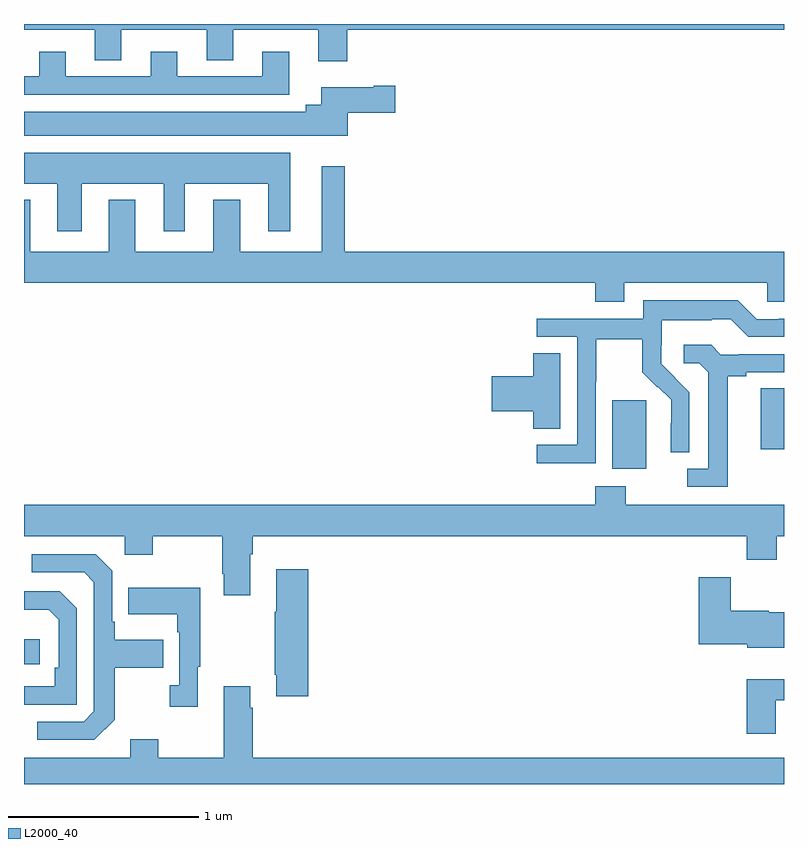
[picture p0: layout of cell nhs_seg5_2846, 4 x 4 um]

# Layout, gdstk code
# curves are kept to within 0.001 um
import gdstk
lib = gdstk.Library(unit=1e-6, precision=1e-09)
def R(c, l, rs):  # rectangles x0, y0, x1, y1
    for r in rs: c.add(gdstk.rectangle(r[:2], r[2:], *l))
def P(c, l, *ps):  # polygons
    for p in ps: c.add(gdstk.Polygon(p, *l))
L2000_40 = (2000, 40)

nhs_seg5_2846 = lib.new_cell('nhs_seg5_2846')
R(nhs_seg5_2846, L2000_40, [(277,845.43,277.084,845.56), (280.097,846.458,280.276,846.819), (280.877,846.561,281,846.881)])
P(nhs_seg5_2846, L2000_40, [(278.702,848.768),(281,848.768),(281,848.799),(277,848.799),(277,848.768),(277.373,848.768),(277.373,848.608),(277.513,848.608),(277.513,848.768),(277.961,848.768),(277.961,848.608),(278.101,848.608),(278.101,848.768),(278.549,848.768),(278.549,848.604),(278.702,848.604)],
  [(278.395,848.653),(278.255,848.653),(278.255,848.523),(277.807,848.523),(277.807,848.653),(277.667,848.653),(277.667,848.523),(277.219,848.523),(277.219,848.653),(277.079,848.653),(277.079,848.523),(277,848.523),(277,848.427),(278.395,848.427)],
  [(278.704,848.333),(278.953,848.333),(278.953,848.475),(278.84,848.475),(278.84,848.467),(278.564,848.467),(278.564,848.374),(278.483,848.374),(278.483,848.338),(277,848.338),(277,848.21),(278.704,848.21)],
  [(277.303,847.958),(277.736,847.958),(277.736,847.707),(277.846,847.707),(277.846,847.958),(278.285,847.958),(278.285,847.707),(278.401,847.707),(278.401,848.122),(277,848.122),(277,847.958),(277.175,847.958),(277.175,847.707),(277.303,847.707)],
  [(280.159,847.436),(280.911,847.436),(280.911,847.338),(281,847.338),(281,847.6),(278.689,847.6),(278.689,848.05),(278.567,848.05),(278.567,847.6),(278.137,847.6),(278.137,847.873),(277.997,847.873),(277.997,847.6),(277.585,847.6),(277.585,847.873),(277.445,847.873),(277.445,847.6),(277.033,847.6),(277.033,847.873),(277,847.873),(277,847.436),(280.007,847.436),(280.007,847.337),(280.159,847.337)],
  [(280.008,846.916),(280.011,846.916),(280.011,847.14),(280.255,847.14),(280.255,846.965),(280.332,846.888),(280.335,846.891),(280.406,846.821),(280.406,846.698),(280.404,846.698),(280.404,846.544),(280.5,846.544),(280.5,846.862),(280.354,847.01),(280.354,847.107),(280.356,847.107),(280.356,847.241),(280.619,847.241),(280.619,847.245),(280.719,847.245),(280.812,847.152),(281,847.152),(281,847.248),(280.973,847.248),(280.973,847.245),(280.857,847.245),(280.757,847.345),(280.26,847.345),(280.26,847.248),(279.699,847.248),(279.699,847.152),(279.912,847.152),(279.912,846.585),(279.699,846.585),(279.699,846.487),(280.008,846.487)],
  [(280.705,846.944),(280.801,846.944),(280.801,846.966),(281,846.966),(281,847.062),(280.762,847.062),(280.762,847.059),(280.668,847.059),(280.616,847.111),(280.473,847.111),(280.473,847.014),(280.554,847.014),(280.601,846.967),(280.601,846.459),(280.491,846.459),(280.491,846.363),(280.705,846.363)],
  [(279.823,847.067),(279.68,847.067),(279.68,846.944),(279.462,846.944),(279.462,846.761),(279.68,846.761),(279.68,846.67),(279.823,846.67)],
  [(278.191,846.008),(278.204,846.008),(278.204,846.104),(280.805,846.104),(280.805,845.98),(280.961,845.98),(280.961,846.104),(281,846.104),(281,846.268),(280.167,846.268),(280.167,846.367),(280.007,846.367),(280.007,846.268),(277,846.268),(277,846.104),(277.53,846.104),(277.53,846.005),(277.677,846.005),(277.677,846.104),(278.044,846.104),(278.044,845.905),(278.051,845.905),(278.051,845.793),(278.191,845.793)],
  [(277.477,845.137),(277.477,845.41),(277.733,845.41),(277.733,845.557),(277.477,845.557),(277.477,845.653),(277.464,845.653),(277.464,845.922),(277.377,846.009),(277.041,846.009),(277.041,845.913),(277.317,845.913),(277.368,845.862),(277.368,845.181),(277.314,845.127),(277.071,845.127),(277.071,845.031),(277.371,845.031)],
  [(278.495,845.929),(278.327,845.929),(278.327,845.705),(278.32,845.705),(278.32,845.374),(278.327,845.374),(278.327,845.262),(278.495,845.262)],
  [(281,845.704),(280.92,845.704),(280.92,845.71),(280.72,845.71),(280.72,845.887),(280.55,845.887),(280.55,845.534),(280.806,845.534),(280.806,845.516),(281,845.516)],
  [(277.915,845.417),(277.927,845.417),(277.927,845.833),(277.549,845.833),(277.549,845.693),(277.806,845.693),(277.806,845.597),(277.818,845.597),(277.818,845.318),(277.767,845.318),(277.767,845.205),(277.915,845.205)],
  [(277.278,845.724),(277.188,845.814),(277,845.814),(277,845.717),(277.129,845.717),(277.182,845.664),(277.182,845.41),(277.162,845.41),(277.162,845.313),(277,845.313),(277,845.217),(277.278,845.217)],
  [(280.957,845.241),(281,845.241),(281,845.35),(280.805,845.35),(280.805,845.064),(280.957,845.064)],
  [(281,844.936),(278.204,844.936),(278.204,845.201),(278.191,845.201),(278.191,845.314),(278.051,845.314),(278.051,844.936),(277.707,844.936),(277.707,845.035),(277.559,845.035),(277.559,844.936),(277,844.936),(277,844.799),(281,844.799)])

lib.write_gds('nhs_seg5_2846.gds')
